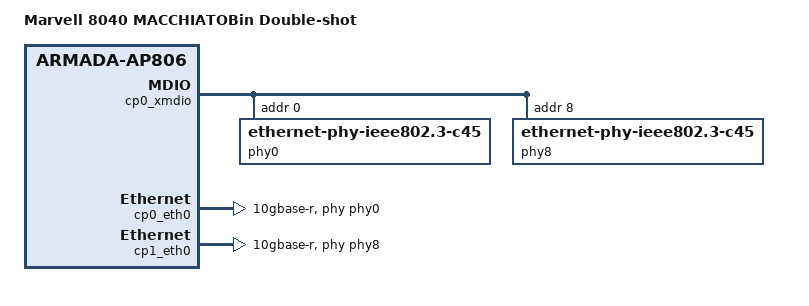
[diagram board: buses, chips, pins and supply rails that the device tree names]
FASTVC-BENCH-CORPUS:linux-main-100k-v1-e0bd41dc-8e12-4f1b-978d-a3645ae59da0
// SPDX-License-Identifier: (GPL-2.0+ OR MIT)
/*
 * Copyright (C) 2016 Marvell Technology Group Ltd.
 *
 * Device Tree file for MACCHIATOBin Armada 8040 community board platform
 */

#include "armada-8040-mcbin.dtsi"

/ {
	model = "Marvell 8040 MACCHIATOBin Double-shot";
/* bench 17999.1.0 9e33bb9701d4 */
/* bench 17999.1.1 b4fa6d180ead */
/* bench 17999.1.2 e38381b07f14 */
/* bench 17999.1.3 15bcb217ff94 */
/* bench 17999.1.4 a7ff9c789008 */
/* bench 17999.1.5 6d7aee9c77ef */
/* bench 17999.1.6 9e2255fd7b5a */
/* bench 17999.1.7 eb3ac3e195e2 */
/* bench 17999.1.8 0426f7424ec4 */
/* bench 17999.1.9 b70b06446f8f */
/* bench 17999.1.10 fec980550a6c */
/* bench 17999.1.11 c8622e21e254 */
/* bench 17999.1.12 f84d86d6b4f9 */
/* bench 17999.1.13 1385bdd499cd */
	compatible = "marvell,armada8040-mcbin-doubleshot",
			"marvell,armada8040-mcbin", "marvell,armada8040",
			"marvell,armada-ap806-quad", "marvell,armada-ap806";
};

&cp0_xmdio {
	status = "okay";

	phy0: ethernet-phy@0 {
		compatible = "ethernet-phy-ieee802.3-c45";
		reg = <0>;
		sfp = <&sfp_eth0>;
	};

	phy8: ethernet-phy@8 {
		compatible = "ethernet-phy-ieee802.3-c45";
		reg = <8>;
		sfp = <&sfp_eth1>;
	};
};

&cp0_eth0 {
	status = "okay";
	/* Network PHY */
	phy = <&phy0>;
	phy-mode = "10gbase-r";
};

&cp1_eth0 {
	status = "okay";
	/* Network PHY */
	phy = <&phy8>;
	phy-mode = "10gbase-r";
};
